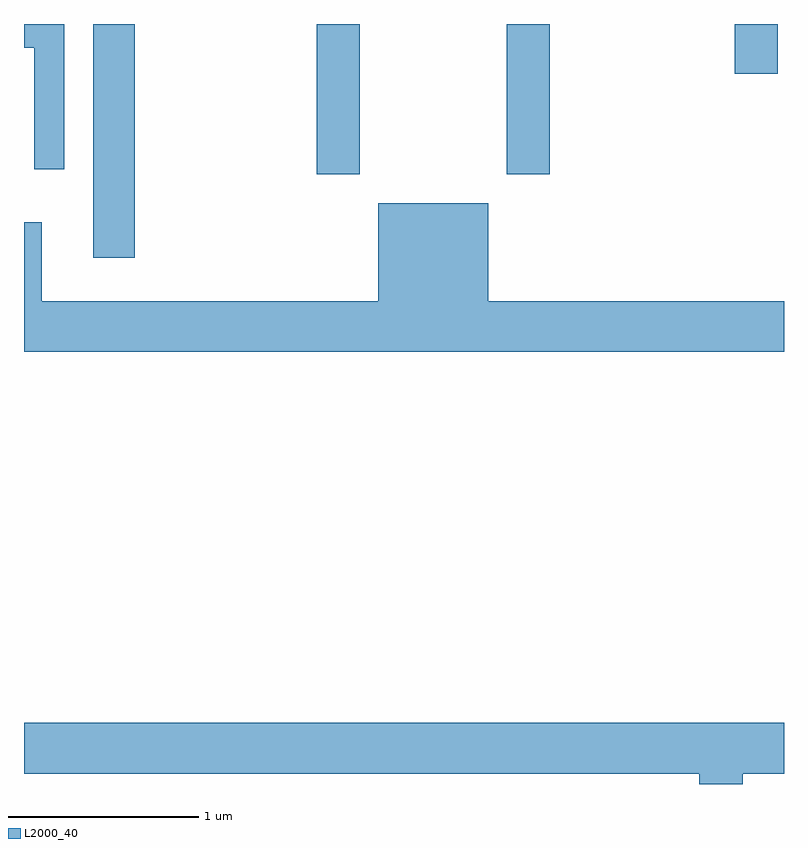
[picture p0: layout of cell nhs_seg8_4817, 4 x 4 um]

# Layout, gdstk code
import gdstk
lib = gdstk.Library(unit=1e-6, precision=1e-09)
def R(c, l, rs):  # rectangles x0, y0, x1, y1
    for r in rs: c.add(gdstk.rectangle(r[:2], r[2:], *l))
def P(c, l, *ps):  # polygons
    for p in ps: c.add(gdstk.Polygon(p, *l))
L2000_40 = (2000, 40)

nhs_seg8_4817 = lib.new_cell('nhs_seg8_4817')
R(nhs_seg8_4817, L2000_40, [(329.976,1859.111,330.194,1860.342), (331.151,1859.551,331.379,1860.342), (332.151,1859.551,332.379,1860.342), (333.351,1860.081,333.579,1860.342)])
P(nhs_seg8_4817, L2000_40, [(329.824,1860.342),(329.611,1860.342),(329.611,1860.216),(329.666,1860.216),(329.666,1859.578),(329.824,1859.578)],
  [(333.611,1858.884),(332.054,1858.884),(332.054,1859.399),(331.476,1859.399),(331.476,1858.884),(329.704,1858.884),(329.704,1859.299),(329.611,1859.299),(329.611,1858.616),(333.611,1858.616)],
  [(333.394,1856.396),(333.611,1856.396),(333.611,1856.664),(329.611,1856.664),(329.611,1856.396),(333.166,1856.396),(333.166,1856.342),(333.394,1856.342)])

lib.write_gds('nhs_seg8_4817.gds')
